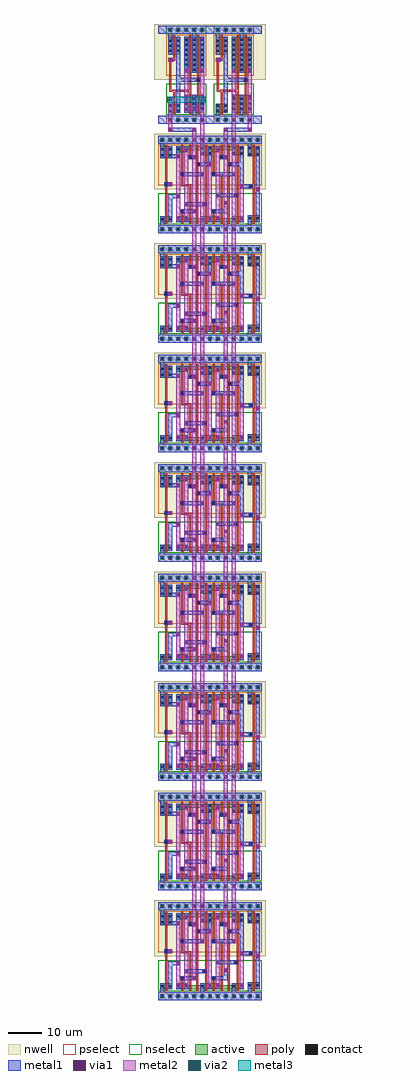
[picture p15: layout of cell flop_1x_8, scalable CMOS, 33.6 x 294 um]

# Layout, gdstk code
import gdstk
lib = gdstk.Library(unit=1e-6, precision=1e-09)
def R(c, l, rs):  # rectangles x0, y0, x1, y1
    for r in rs: c.add(gdstk.rectangle(r[:2], r[2:], *l))
def A(c, l, x, y, w, h, nx, ny, dx, dy):  # array of equal rectangles
    R(c, l, [(x+i*dx, y+j*dy, x+i*dx+w, y+j*dy+h) for i in range(nx) for j in range(ny)])
def P(c, l, *ps):  # polygons
    for p in ps: c.add(gdstk.Polygon(p, *l))
contact = (25, 0)
nwell = (42, 0)
active = (43, 0)
pselect = (44, 0)
nselect = (45, 0)
poly = (46, 0)
metal1 = (49, 0)
via1 = (50, 0)
metal2 = (51, 0)
via2 = (61, 0)
metal3 = (62, 0)

clkinvbuf_4x = lib.new_cell('clkinvbuf_4x')
A(clkinvbuf_4x, contact, 0.9, -0.3, 0.6, 0.6, 5, 2, 2.4, 27)
A(clkinvbuf_4x, contact, 5.7, 3, 0.6, 0.6, 3, 3, 2.4, 1.5)
A(clkinvbuf_4x, contact, 5.7, 14.7, 0.6, 0.6, 3, 7, 2.4, 1.5)
A(clkinvbuf_4x, contact, 0.9, 20.4, 0.6, 0.6, 1, 3, 0, 1.5)
A(clkinvbuf_4x, contact, 3.3, 20.4, 0.6, 0.6, 1, 3, 0, 1.5)
R(clkinvbuf_4x, contact, [(0.9,2.4,1.5,3), (3.3,2.4,3.9,3), (0.9,3.9,1.5,4.5), (3.3,3.9,3.9,4.5), (9.3,11.7,9.9,12.3), (1.2,17.7,1.8,18.3)])
R(clkinvbuf_4x, nwell, [(-1.2,12,13.2,28.8)])
A(clkinvbuf_4x, active, 0.6, -0.6, 1.2, 1.2, 5, 2, 2.4, 27)
R(clkinvbuf_4x, active, [(0.6,2.1,4.2,4.8), (5.4,2.1,11.4,7.5), (5.4,14.1,11.4,24.9), (0.6,19.5,4.2,24.9)])
R(clkinvbuf_4x, pselect, [(0,-1.2,12,1.2), (0,13.2,12,25.5)])
R(clkinvbuf_4x, nselect, [(0,1.5,12,10.8), (0,25.8,12,28.2)])
P(clkinvbuf_4x, poly, [(7.5,25.5),(6.9,25.5),(6.9,9),(1.5,9),(1.5,17.4),(2.1,17.4),(2.1,17.7),(2.7,17.7),(2.7,25.5),(2.1,25.5),(2.1,18.6),(0.9,18.6),(0.9,8.4),(2.1,8.4),(2.1,1.5),(2.7,1.5),(2.7,8.4),(6.9,8.4),(6.9,1.5),(7.5,1.5)],
  [(10.2,12.6),(9.9,12.6),(9.9,25.5),(9.3,25.5),(9.3,12.6),(9,12.6),(9,11.4),(9.3,11.4),(9.3,1.5),(9.9,1.5),(9.9,11.4),(10.2,11.4)])
R(clkinvbuf_4x, metal1, [(0,-1.2,12,1.2), (5.4,2.1,6.6,7.5), (10.2,2.1,11.4,7.5), (5.4,14.1,6.6,24.9), (10.2,14.1,11.4,24.9), (0.6,17.4,2.1,18.6), (0,25.8,12,28.2)])
P(clkinvbuf_4x, metal1, [(10.2,12.6),(4.2,12.6),(4.2,24.9),(3,24.9),(3,2.1),(4.2,2.1),(4.2,11.4),(10.2,11.4)],
  [(12,28.2),(0,28.2),(0,25.8),(0.6,25.8),(0.6,19.5),(1.8,19.5),(1.8,25.8),(7.8,25.8),(7.8,14.1),(9,14.1),(9,25.8),(12,25.8)],
  [(12,1.2),(9,1.2),(9,7.5),(7.8,7.5),(7.8,1.2),(1.8,1.2),(1.8,4.8),(0.6,4.8),(0.6,1.2),(0,1.2),(0,-1.2),(12,-1.2)])
R(clkinvbuf_4x, via1, [(5.7,6.6,6.3,7.2), (10.5,6.6,11.1,7.2), (5.7,14.4,6.3,15), (10.5,14.4,11.1,15), (0.9,17.7,1.5,18.3)])
R(clkinvbuf_4x, metal2, [(5.4,6.3,6.6,15.3), (5.4,6.3,6.6,7.5), (10.2,6.3,11.4,15.3), (10.2,6.3,11.4,7.5), (0.6,17.4,1.8,18.6)])

clkinvbufdual_4x = lib.new_cell('clkinvbufdual_4x')
R(clkinvbufdual_4x, metal1, [(0,-1.2,26.4,1.2), (0,25.8,26.4,28.2)])
A(clkinvbufdual_4x, metal2, 0.6, -1.8, 1.2, 1.2, 3, 1, 9.6, 0)
R(clkinvbufdual_4x, metal2, [(0.6,-1.8,1.8,6.6), (19.8,-1.8,21,7.5), (24.6,-1.8,25.8,7.5), (24.6,-1.8,25.8,-0.6), (10.2,5.4,11.4,6.6), (0.6,17.4,1.8,18.6), (15,17.4,16.2,18.6)])
P(clkinvbufdual_4x, metal2, [(11.4,3.9),(6.6,3.9),(6.6,7.5),(5.4,7.5),(5.4,2.7),(10.2,2.7),(10.2,-1.8),(11.4,-1.8)])
R(clkinvbufdual_4x, via2, [(0.9,5.7,1.5,6.3), (10.5,5.7,11.1,6.3)])
R(clkinvbufdual_4x, metal3, [(0.3,5.1,11.7,6.9)])
clkinvbufdual_4x.add(gdstk.Reference(clkinvbuf_4x, (0,0)))
clkinvbufdual_4x.add(gdstk.Reference(clkinvbuf_4x, (14.4,0)))

flop_dp_1x = lib.new_cell('flop_dp_1x')
A(flop_dp_1x, contact, 0.9, -0.3, 0.6, 0.6, 13, 2, 2.4, 27)
A(flop_dp_1x, contact, 0.9, 2.7, 0.6, 0.6, 4, 2, 2.4, 21)
A(flop_dp_1x, contact, 12.9, 2.7, 0.6, 0.6, 3, 1, 2.4, 0)
A(flop_dp_1x, contact, 22.5, 24, 0.6, 0.6, 4, 1, 2.4, 0)
R(flop_dp_1x, contact, [(22.5,2.7,23.1,3.3), (24.9,2.7,25.5,3.3), (27.3,3,27.9,3.6), (29.7,3,30.3,3.6), (6.9,5.1,7.5,5.7), (16.5,5.1,17.1,5.7), (13.5,7.2,14.1,7.8), (23.1,9.9,23.7,10.5), (27.6,12.6,28.2,13.2), (2.1,13.2,2.7,13.8), (6.9,16.2,7.5,16.8), (16.5,16.2,17.1,16.8), (12,19.2,12.6,19.8), (21.6,19.2,22.2,19.8), (9.3,21.3,9.9,21.9), (18.9,21.3,19.5,21.9), (0.9,21.9,1.5,22.5), (3.3,21.9,3.9,22.5), (27.3,22.2,27.9,22.8), (29.7,22.2,30.3,22.8), (12.9,22.5,13.5,23.1), (15.3,22.5,15.9,23.1), (22.5,22.5,23.1,23.1), (24.9,22.5,25.5,23.1), (17.7,23.7,18.3,24.3), (12.9,24,13.5,24.6), (15.3,24,15.9,24.6)])
R(flop_dp_1x, nwell, [(-1.2,12,32.4,28.8)])
A(flop_dp_1x, active, 0.6, -0.6, 1.2, 1.2, 13, 2, 2.4, 27)
R(flop_dp_1x, active, [(0.6,2.1,4.2,3.9), (27,2.1,30.6,4.2), (0.6,21.3,4.2,24.9), (27,21.9,30.6,24.9)])
P(flop_dp_1x, active, [(25.8,24.9),(5.4,24.9),(5.4,23.1),(9,23.1),(9,23.7),(12.6,23.7),(12.6,22.2),(16.2,22.2),(16.2,23.1),(18.6,23.1),(18.6,23.7),(22.2,23.7),(22.2,22.2),(25.8,22.2)],
  [(25.8,3.9),(22.2,3.9),(22.2,3.3),(18.6,3.3),(18.6,3.9),(12.6,3.9),(12.6,3.3),(9,3.3),(9,3.9),(5.4,3.9),(5.4,2.1),(25.8,2.1)])
R(flop_dp_1x, pselect, [(0,-1.2,31.2,1.2), (0,13.2,31.2,25.5)])
R(flop_dp_1x, nselect, [(0,1.5,31.2,10.8), (0,25.8,31.2,28.2)])
P(flop_dp_1x, poly, [(29.1,25.5),(28.5,25.5),(28.5,13.5),(27.3,13.5),(27.3,12.3),(28.5,12.3),(28.5,1.5),(29.1,1.5)],
  [(24.3,25.5),(23.7,25.5),(23.7,10.8),(22.8,10.8),(22.8,9.6),(23.7,9.6),(23.7,1.5),(24.3,1.5)],
  [(22.5,20.1),(21.6,20.1),(21.6,25.5),(21,25.5),(21,1.5),(21.6,1.5),(21.6,18.9),(22.5,18.9)],
  [(19.8,22.2),(19.5,22.2),(19.5,25.5),(18.9,25.5),(18.9,22.2),(18.6,22.2),(18.6,21),(19.8,21)],
  [(19.5,16.5),(17.4,16.5),(17.4,17.1),(17.1,17.1),(17.1,25.5),(16.5,25.5),(16.5,17.1),(16.2,17.1),(16.2,15.9),(18.9,15.9),(18.9,1.5),(19.5,1.5)],
  [(17.4,6),(16.2,6),(16.2,4.8),(16.5,4.8),(16.5,1.5),(17.1,1.5),(17.1,4.8),(17.4,4.8)],
  [(14.7,25.5),(14.1,25.5),(14.1,8.1),(13.2,8.1),(13.2,6.9),(14.1,6.9),(14.1,1.5),(14.7,1.5)],
  [(12.9,20.1),(12,20.1),(12,25.5),(11.4,25.5),(11.4,1.5),(12,1.5),(12,18.9),(12.9,18.9)],
  [(10.2,22.2),(9.9,22.2),(9.9,25.5),(9.3,25.5),(9.3,22.2),(9,22.2),(9,21),(10.2,21)],
  [(3,14.1),(2.7,14.1),(2.7,25.5),(2.1,25.5),(2.1,14.1),(1.8,14.1),(1.8,12.9),(2.1,12.9),(2.1,1.5),(2.7,1.5),(2.7,12.9),(3,12.9)],
  [(7.8,6),(6.6,6),(6.6,4.8),(6.9,4.8),(6.9,1.5),(7.5,1.5),(7.5,4.8),(7.8,4.8)],
  [(9.9,13.5),(7.5,13.5),(7.5,15.9),(7.8,15.9),(7.8,17.1),(7.5,17.1),(7.5,25.5),(6.9,25.5),(6.9,17.1),(6.6,17.1),(6.6,15.9),(6.9,15.9),(6.9,12.9),(9.3,12.9),(9.3,1.5),(9.9,1.5)])
R(flop_dp_1x, metal1, [(0,-1.2,31.2,1.2), (5.4,2.1,6.6,3.9), (7.8,2.1,9,3.9), (15,2.1,16.2,3.9), (17.4,2.1,18.6,3.9), (24.6,2.1,25.8,3.9), (29.4,2.1,30.6,24.9), (6.6,4.8,11.4,6), (7.8,6.9,14.4,8.1), (17.4,9.6,24,10.8), (1.8,12.9,4.2,14.1), (6.6,15.9,13.8,17.1), (16.2,15.9,23.4,17.1), (9,21,11.4,22.2), (18.6,21,21,22.2), (7.8,23.1,9,24.9), (17.4,23.1,18.6,24.9), (0,25.8,31.2,28.2)])
P(flop_dp_1x, metal1, [(31.2,1.2),(28.2,1.2),(28.2,4.2),(27,4.2),(27,1.2),(23.4,1.2),(23.4,3.9),(22.2,3.9),(22.2,1.2),(13.8,1.2),(13.8,3.9),(12.6,3.9),(12.6,1.2),(1.8,1.2),(1.8,3.9),(0.6,3.9),(0.6,1.2),(0,1.2),(0,-1.2),(31.2,-1.2)],
  [(31.2,28.2),(0,28.2),(0,25.8),(0.6,25.8),(0.6,21.3),(1.8,21.3),(1.8,25.8),(12.6,25.8),(12.6,22.2),(13.8,22.2),(13.8,25.8),(22.2,25.8),(22.2,22.2),(23.4,22.2),(23.4,25.8),(27,25.8),(27,21.9),(28.2,21.9),(28.2,25.8),(31.2,25.8)],
  [(28.5,13.5),(25.8,13.5),(25.8,24.9),(24.6,24.9),(24.6,20.1),(21.3,20.1),(21.3,18.9),(24.6,18.9),(24.6,12.3),(28.5,12.3)],
  [(21,8.4),(19.8,8.4),(19.8,6),(16.2,6),(16.2,4.8),(21,4.8)],
  [(16.2,24.9),(15,24.9),(15,20.1),(11.7,20.1),(11.7,18.9),(16.2,18.9)],
  [(6.6,24.9),(5.4,24.9),(5.4,22.5),(4.2,22.5),(4.2,24.9),(3,24.9),(3,21.3),(6.6,21.3)],
  [(6.6,10.5),(3,10.5),(3,2.1),(4.2,2.1),(4.2,9.3),(6.6,9.3)])
R(flop_dp_1x, via1, [(5.7,3,6.3,3.6), (8.1,3,8.7,3.6), (15.3,3,15.9,3.6), (17.7,3,18.3,3.6), (24.9,3,25.5,3.6), (10.5,5.1,11.1,5.7), (8.1,7.2,8.7,7.8), (20.1,7.5,20.7,8.1), (5.7,9.6,6.3,10.2), (17.7,9.9,18.3,10.5), (29.7,11.7,30.3,12.3), (24.9,12.6,25.5,13.2), (3.3,13.2,3.9,13.8), (12.9,16.2,13.5,16.8), (22.5,16.2,23.1,16.8), (15.3,19.2,15.9,19.8), (10.5,21.3,11.1,21.9), (20.1,21.3,20.7,21.9), (5.7,21.6,6.3,22.2), (8.1,23.4,8.7,24), (17.7,23.4,18.3,24)])
R(flop_dp_1x, metal2, [(5.4,2.7,6.6,22.5), (7.8,2.7,9,24.3), (15,2.7,16.2,20.1), (17.4,2.7,18.6,24.3), (24.6,2.7,25.8,13.5), (10.2,4.8,11.4,22.2), (19.8,7.2,21,8.4), (19.8,7.2,21,22.2), (29.4,11.4,30.6,12.6), (3,12.9,4.2,14.1), (10.2,12.9,11.4,14.1), (12.6,15.9,13.8,17.1), (22.2,15.9,23.4,17.1)])

flop_1x_8 = lib.new_cell('flop_1x_8')
R(flop_1x_8, nwell, [(-1.2,276,32.4,292.8)])
A(flop_1x_8, metal1, 29.4, 11.4, 1.2, 1.2, 1, 8, 0, 33)
A(flop_1x_8, metal1, 3, 12.9, 1.2, 1.2, 1, 8, 0, 33)
R(flop_1x_8, metal1, [(0,-1.2,31.2,1.2), (0,25.8,31.2,28.2), (0,31.8,31.2,34.2), (0,58.8,31.2,61.2), (0,64.8,31.2,67.2), (0,91.8,31.2,94.2), (0,97.8,31.2,100.2), (0,124.8,31.2,127.2), (0,130.8,31.2,133.2), (0,157.8,31.2,160.2), (0,163.8,31.2,166.2), (0,190.8,31.2,193.2), (0,196.8,31.2,199.2), (0,223.8,31.2,226.2), (0,229.8,31.2,232.2), (0,256.8,31.2,259.2), (3,260.4,11.4,261.6), (19.8,260.4,28.2,261.6), (0,262.8,31.2,265.2), (0,289.8,31.2,292.2)])
R(flop_1x_8, via1, [(3.3,260.7,3.9,261.3), (10.5,260.7,11.1,261.3), (20.1,260.7,20.7,261.3), (27.3,260.7,27.9,261.3)])
R(flop_1x_8, metal2, [(19.8,7.2,21,261.6), (10.2,12.9,11.4,261.6), (12.6,15.9,13.8,263.4), (22.2,15.9,23.4,263.4), (3,260.4,4.2,264.6), (27,260.4,28.2,263.4), (3,281.4,4.2,282.6), (17.4,281.4,18.6,282.6)])
flop_1x_8.add(gdstk.Reference(clkinvbufdual_4x, (2.4,264)))
r = gdstk.Reference(flop_dp_1x, (0,0)); r.repetition = gdstk.Repetition(1, 8, v1=(33.6,0), v2=(0,33)); flop_1x_8.add(r)

lib.write_gds('flop_1x_8.gds')
